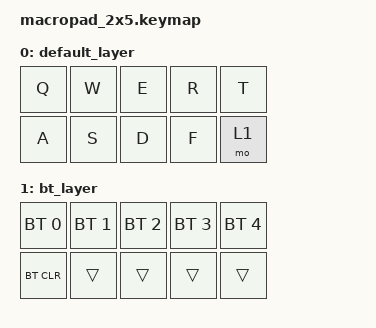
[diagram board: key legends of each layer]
/*
 * Copyright (c) 2021 Nick Winans
 *
 * SPDX-License-Identifier: MIT
 */

#include <behaviors.dtsi>
#include <dt-bindings/zmk/keys.h>
#include <dt-bindings/zmk/rgb.h>
#include <dt-bindings/zmk/bt.h>

/ {
    keymap {
        compatible = "zmk,keymap";

        default_layer {
            bindings = <
                &kp Q   &kp W   &kp E   &kp R   &kp T
                &kp A   &kp S   &kp D   &kp F   &mo 1
            >;
        };

        bt_layer {
            bindings = <
                &bt BT_SEL 0  &bt BT_SEL 1  &bt BT_SEL 2  &bt BT_SEL 3  &bt BT_SEL 4
                &bt BT_CLR    &trans        &trans        &trans        &trans
            >;
        };
    };
};
